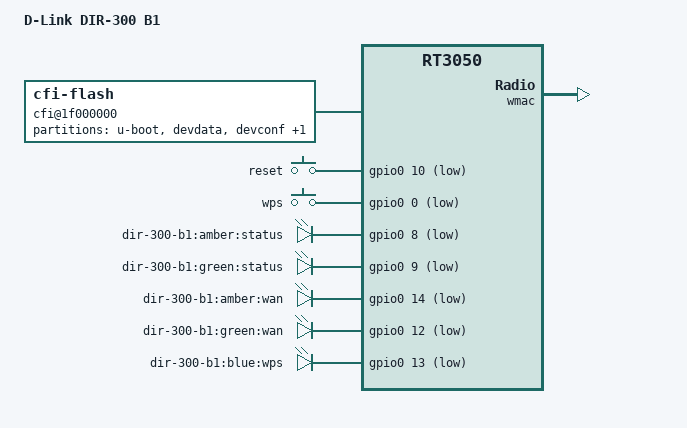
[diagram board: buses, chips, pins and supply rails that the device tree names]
/dts-v1/;

#include "rt3050.dtsi"

/ {
	compatible = "DIR-300-B1", "ralink,rt3050-soc";
	model = "D-Link DIR-300 B1";

	cfi@1f000000 {
		compatible = "cfi-flash";
		reg = <0x1f000000 0x800000>;
		bank-width = <2>;
		device-width = <2>;
		#address-cells = <1>;
		#size-cells = <1>;

		partition@0 {
			label = "u-boot";
			reg = <0x0 0x30000>;
			read-only;
		};

		devdata: partition@30000 {
			label = "devdata";
			reg = <0x30000 0x10000>;
			read-only;
		};

		factory: partition@40000 {
			label = "devconf";
			reg = <0x40000 0x10000>;
			read-only;
		};

		partition@50000 {
			label = "firmware";
			reg = <0x50000 0x3b0000>;
		};
	};

	gpio-keys-polled {
		compatible = "gpio-keys-polled";
		#address-cells = <1>;
		#size-cells = <0>;
		poll-interval = <20>;

		reset {
			label = "reset";
			gpios = <&gpio0 10 1>;
			linux,code = <0x198>;
		};

		wps {
			label = "wps";
			gpios = <&gpio0 0 1>;
			linux,code = <0x211>;
		};
	};

	gpio-leds {
		compatible = "gpio-leds";

		status {
			label = "dir-300-b1:amber:status";
			gpios = <&gpio0 8 1>;
		};

		status2 {
			label = "dir-300-b1:green:status";
			gpios = <&gpio0 9 1>;
		};

		wan {
			label = "dir-300-b1:amber:wan";
			gpios = <&gpio0 14 1>;
		};

		wan2 {
			label = "dir-300-b1:green:wan";
			gpios = <&gpio0 12 1>;
		};

		wps {
			label = "dir-300-b1:blue:wps";
			gpios = <&gpio0 13 1>;
		};
	};
};

&pinctrl {
	state_default: pinctrl0 {
		gpio {
			ralink,group = "i2c", "spi", "jtag", "mdio", "rgmii", "uartf";
			ralink,function = "gpio";
		};
	};
};

&ethernet {
	mtd-mac-address = <&devdata 0x4004>;
};

&esw {
	mediatek,portmap = <0x2f>;
};

&wmac {
	ralink,mtd-eeprom = <&devdata 0x4000>;
};
